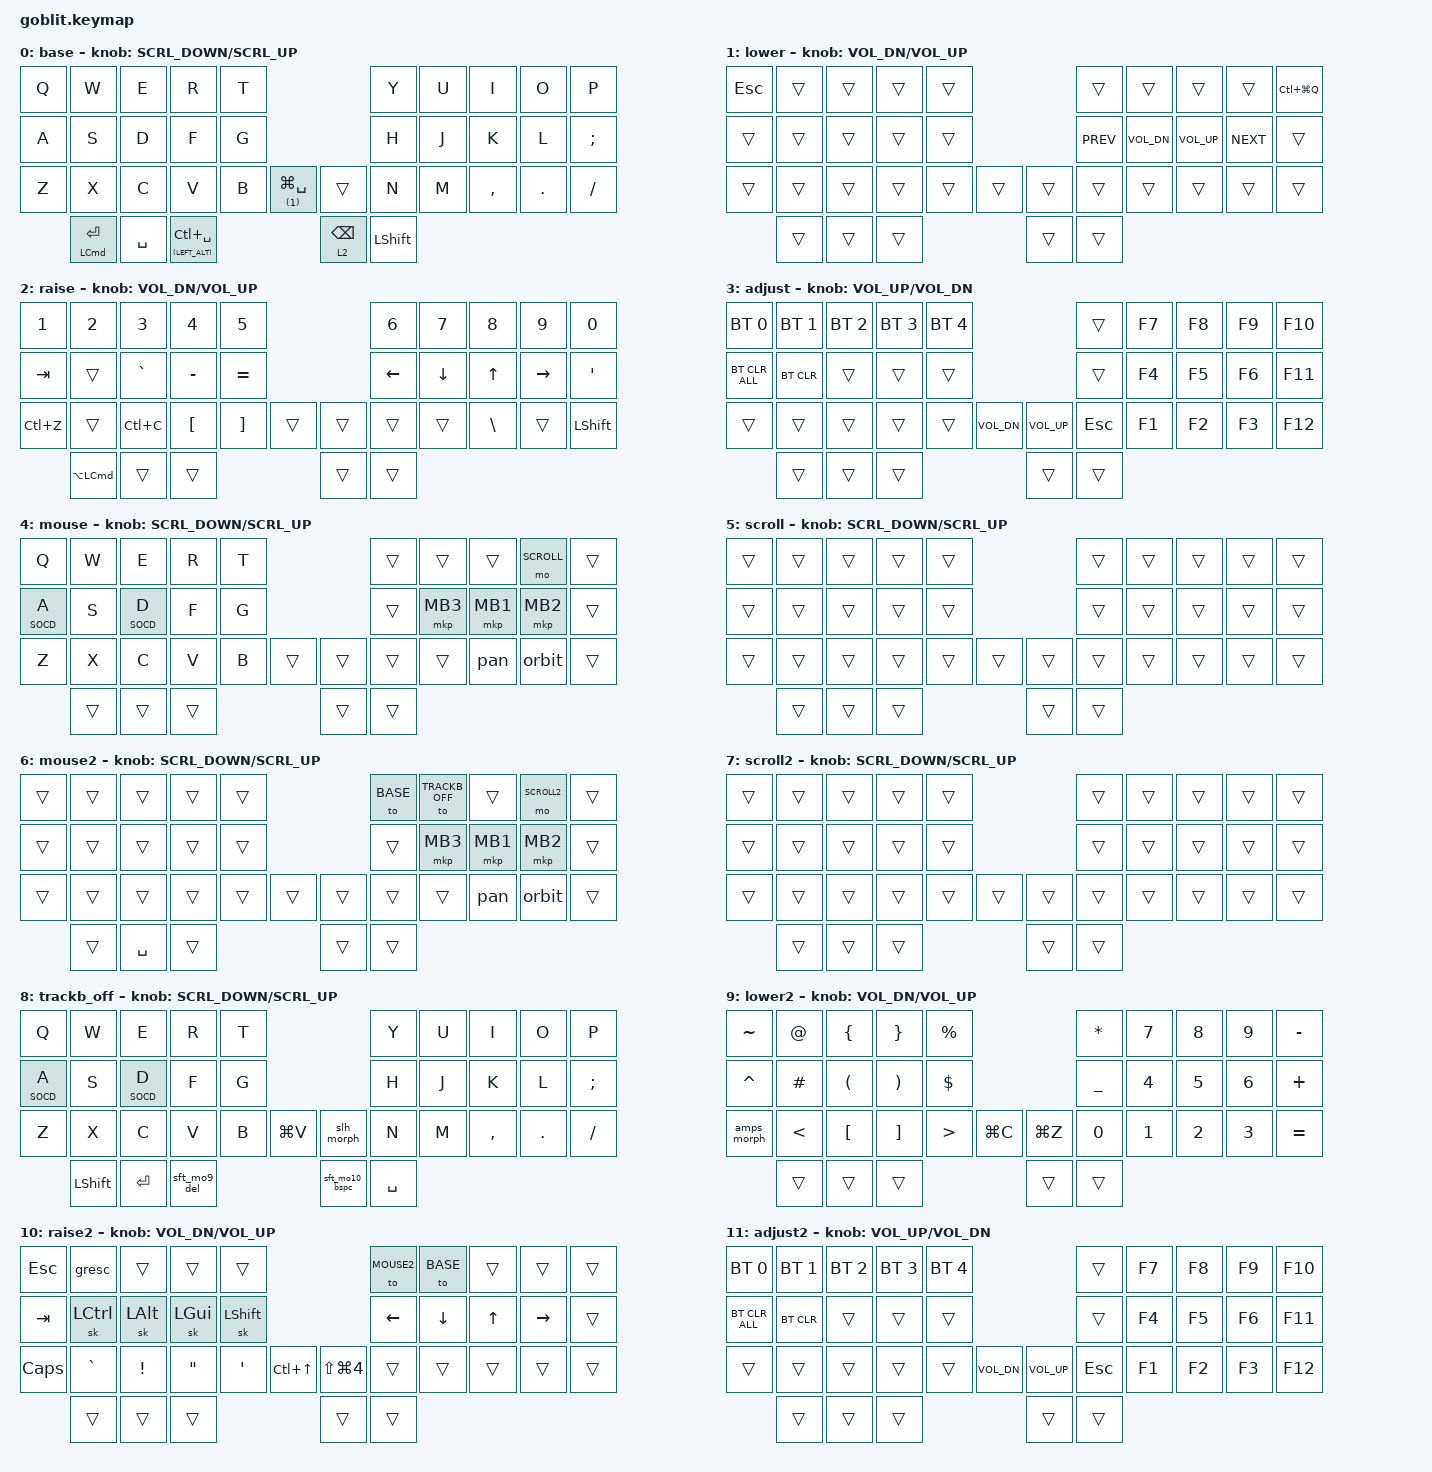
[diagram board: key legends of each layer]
// Copyright (c) 2025 The ZMK Contributors
// SPDX-License-Identifier: MIT
// Default scroll sensitivity for encoder-based scrolling

#define ZMK_POINTING_DEFAULT_SCRL_VAL 100    // default was 10

#include <input/processors.dtsi>
#include <dt-bindings/zmk/mouse.h>
#include <behaviors/mouse_keys.dtsi>
#include <dt-bindings/zmk/input_transform.h>
#include <zephyr/dt-bindings/input/input-event-codes.h>
#include <behaviors.dtsi>
#include <dt-bindings/zmk/bt.h>
#include <dt-bindings/zmk/keys.h>
#include <dt-bindings/zmk/pointing.h>

// Keep all behavior settings visible in ZMK Studio

#define ZMK_BEHAVIORS_OMIT_KT

// Layer indices

#define BASE        0
#define LOWER       1
#define RAISE       2
#define ADJUST      3
#define MOUSE       4
#define SCROLL      5
#define MOUSE2      6
#define SCROLL2     7
#define TRACKB_OFF  8
#define LOWER2      9
#define RAISE2      10
#define ADJUST2     11

// Reference: https://zmk.dev/docs/keymaps/behaviors/

/ {
    conditional_layers {
        compatible = "zmk,conditional-layers";

        tri_layer {
            if-layers = <LOWER RAISE>;
            then-layer = <ADJUST>;
        };

        tri_layer2 {
            if-layers = <LOWER2 RAISE2>;
            then-layer = <ADJUST2>;
        };
    };

    behaviors {
        enc_scroll: enc_scroller {
            compatible = "zmk,behavior-sensor-rotate-var";
            #sensor-binding-cells = <2>;
            bindings = <&msc>, <&msc>;

            tap-ms = <20>;
        };

        /* Setup SOCD for keys A and D (left and right) */

        SOCD: key_lip_a_d {
            compatible = "zmk,behavior-key-press-lip";
            #binding-cells = <1>;
            keycodes = <A D>;
        };

        /* mod-morph for &mo 1, shift (either side) + &mo 1 = delete (shift + lower = delete)*/

        sft_mo1_del: sft_mo1_del {
            compatible = "zmk,behavior-mod-morph";
            #binding-cells = <0>;
            bindings = <&mo 1>, <&kp DEL>;

            mods = <(MOD_LSFT|MOD_RSFT)>;
        };

        sft_mo9_del: sft_mo9_del {
            compatible = "zmk,behavior-mod-morph";
            #binding-cells = <0>;
            bindings = <&mo 9>, <&kp DEL>;

            mods = <(MOD_LSFT|MOD_RSFT)>;
        };

        /* mod-morph for &mo 2, shift (either side) + &mo 2 = delete (shift + raise = backspace)*/

        sft_mo2_bspc: sft_mo2_bspc {
            compatible = "zmk,behavior-mod-morph";
            #binding-cells = <0>;
            bindings = <&mo 2>, <&kp BSPC>;

            mods = <(MOD_LSFT|MOD_RSFT)>;
        };

        sft_mo10_bspc: sft_mo10_bspc {
            compatible = "zmk,behavior-mod-morph";
            #binding-cells = <0>;
            bindings = <&mo 10>, <&kp BSPC>;

            mods = <(MOD_LSFT|MOD_RSFT)>;
        };

        /* mod-morph for Forward/Backward Slash, shift (either side) + &kp FSLH = &kp BSLH */

        slh_morph: slh_morph {
            compatible = "zmk,behavior-mod-morph";
            #binding-cells = <0>;
            bindings = <&kp FSLH>, <&kp BSLH>;

            mods = <(MOD_LSFT)>;
        };

        amps_morph: amps_morph {
            compatible = "zmk,behavior-mod-morph";
            #binding-cells = <0>;
            bindings = <&kp AMPS>, <&kp PIPE>;

            mods = <(MOD_LSFT)>;
        };
    };

    macros {
        orbit: orbit {
            compatible = "zmk,behavior-macro";
            #binding-cells = <0>;
            bindings =
                <&macro_press>,
                <&kp LSHIFT &mkp MCLK>,
                <&macro_pause_for_release>,
                <&macro_release>,
                <&kp LSHIFT &mkp MCLK>;
        };

        pan: pan {
            compatible = "zmk,behavior-macro";
            #binding-cells = <0>;
            bindings =
                <&macro_press>,
                <&mkp MCLK>,
                <&macro_pause_for_release>,
                <&macro_release>,
                <&mkp MCLK>;
        };
    };

    keymap {
        compatible = "zmk,keymap";

        // ---------------------------------------------------------------------------------------------------------------------------------
        // BASE Layer
        // ---------------------------------------------------------------------------------------------------------------------------------

        default_layer {
            display-name = "base";
            bindings = <
&kp Q  &kp W                   &kp E      &kp R                     &kp T                                      &kp Y           &kp U  &kp I      &kp O    &kp P
&kp A  &kp S                   &kp D      &kp F                     &kp G                                      &kp H           &kp J  &kp K      &kp L    &kp SEMI
&kp Z  &kp X                   &kp C      &kp V                     &kp B  &lt (1) LG(SPACE)  &trans           &kp N           &kp M  &kp COMMA  &kp DOT  &kp FSLH

       &mt LEFT_COMMAND ENTER  &kp SPACE  &mt (LEFT_ALT) LC(SPACE)                            &lt 2 BACKSPACE  &kp LEFT_SHIFT
            >;

            sensor-bindings = <&enc_scroll SCRL_DOWN SCRL_UP>;
        };

        // ---------------------------------------------------------------------------------------------------------------------------------
        // LOWER Layer
        // ---------------------------------------------------------------------------------------------------------------------------------

        lower_layer {
            display-name = "lower";
            bindings = <
&kp ESC  &trans  &trans  &trans  &trans                  &trans      &trans        &trans        &trans      &kp LC(LG(Q))
&trans   &trans  &trans  &trans  &trans                  &kp C_PREV  &kp C_VOL_DN  &kp C_VOL_UP  &kp C_NEXT  &trans
&trans   &trans  &trans  &trans  &trans  &trans  &trans  &trans      &trans        &trans        &trans      &trans

         &trans  &trans  &trans                  &trans  &trans
            >;

            sensor-bindings = <&inc_dec_kp C_VOL_DN C_VOL_UP>;
        };

        // ---------------------------------------------------------------------------------------------------------------------------------
        // RAISE Layer
        // ---------------------------------------------------------------------------------------------------------------------------------

        raise_layer {
            display-name = "raise";
            bindings = <
&kp NUMBER_1  &kp N2                &kp N3     &kp N4            &kp N5                             &kp N6    &kp N7    &kp N8         &kp N9     &kp N0
&kp TAB       &trans                &kp GRAVE  &kp MINUS         &kp EQUAL                          &kp LEFT  &kp DOWN  &kp UP         &kp RIGHT  &kp SINGLE_QUOTE
&kp LC(Z)     &trans                &kp LC(C)  &kp LEFT_BRACKET  &kp RIGHT_BRACKET  &trans  &trans  &trans    &trans    &kp BACKSLASH  &trans     &kp LEFT_SHIFT

              &kp LA(LEFT_COMMAND)  &trans     &trans                                       &trans  &trans
            >;

            sensor-bindings = <&inc_dec_kp C_VOL_DN C_VOL_UP>;
        };

        // ---------------------------------------------------------------------------------------------------------------------------------
        // ADJUST Layer
        // ---------------------------------------------------------------------------------------------------------------------------------

        adjust_layer {
            display-name = "adjust";
            bindings = <
&bt BT_SEL 0    &bt BT_SEL 1  &bt BT_SEL 2  &bt BT_SEL 3  &bt BT_SEL 4                              &trans   &kp F7  &kp F8  &kp F9  &kp F10
&bt BT_CLR_ALL  &bt BT_CLR    &trans        &trans        &trans                                    &trans   &kp F4  &kp F5  &kp F6  &kp F11
&trans          &trans        &trans        &trans        &trans        &kp C_VOL_DN  &kp C_VOL_UP  &kp ESC  &kp F1  &kp F2  &kp F3  &kp F12

                &trans        &trans        &trans                                    &trans        &trans
            >;

            sensor-bindings = <&inc_dec_kp C_VOL_UP C_VOL_DN>;
        };

        // ---------------------------------------------------------------------------------------------------------------------------------
        // MOUSE Layer
        // ---------------------------------------------------------------------------------------------------------------------------------

        mouse_layer {
            display-name = "mouse";
            bindings = <
&kp Q    &kp W   &kp E    &kp R   &kp T                  &trans  &trans    &trans    &mo SCROLL  &trans
&SOCD A  &kp S   &SOCD D  &kp F   &kp G                  &trans  &mkp MB3  &mkp MB1  &mkp MB2    &trans
&kp Z    &kp X   &kp C    &kp V   &kp B  &trans  &trans  &trans  &trans    &pan      &orbit      &trans

         &trans  &trans   &trans                 &trans  &trans
            >;

            sensor-bindings = <&enc_scroll SCRL_DOWN SCRL_UP>;
        };

        // ---------------------------------------------------------------------------------------------------------------------------------
        // SCROLL Layer
        // ---------------------------------------------------------------------------------------------------------------------------------

        scroll_layer {
            display-name = "scroll";
            bindings = <
&trans  &trans  &trans  &trans  &trans                  &trans  &trans  &trans  &trans  &trans
&trans  &trans  &trans  &trans  &trans                  &trans  &trans  &trans  &trans  &trans
&trans  &trans  &trans  &trans  &trans  &trans  &trans  &trans  &trans  &trans  &trans  &trans

        &trans  &trans  &trans                  &trans  &trans
            >;

            sensor-bindings = <&enc_scroll SCRL_DOWN SCRL_UP>;
        };

        // ---------------------------------------------------------------------------------------------------------------------------------
        // MOUSE2 Layer
        // ---------------------------------------------------------------------------------------------------------------------------------
        // Persistent mouse mode (toggled from RAISE Layer via &to MOUSE2)

        mouse2_layer {
            display-name = "mouse2";
            bindings = <
&trans  &trans  &trans     &trans  &trans                  &to BASE  &to TRACKB_OFF  &trans    &mo SCROLL2  &trans
&trans  &trans  &trans     &trans  &trans                  &trans    &mkp MB3        &mkp MB1  &mkp MB2     &trans
&trans  &trans  &trans     &trans  &trans  &trans  &trans  &trans    &trans          &pan      &orbit       &trans

        &trans  &kp SPACE  &trans                  &trans  &trans
            >;

            sensor-bindings = <&enc_scroll SCRL_DOWN SCRL_UP>;
        };

        // ---------------------------------------------------------------------------------------------------------------------------------
        // SCROLL2 Layer
        // ---------------------------------------------------------------------------------------------------------------------------------

        scroll2_layer {
            display-name = "scroll2";
            bindings = <
&trans  &trans  &trans  &trans  &trans                  &trans  &trans  &trans  &trans  &trans
&trans  &trans  &trans  &trans  &trans                  &trans  &trans  &trans  &trans  &trans
&trans  &trans  &trans  &trans  &trans  &trans  &trans  &trans  &trans  &trans  &trans  &trans

        &trans  &trans  &trans                  &trans  &trans
            >;

            sensor-bindings = <&enc_scroll SCRL_DOWN SCRL_UP>;
        };

        // ---------------------------------------------------------------------------------------------------------------------------------
        // TRACKB_OFF Layer
        // ---------------------------------------------------------------------------------------------------------------------------------

        trackb_off_layer {
            display-name = "trackb_off";
            bindings = <
&kp Q    &kp W      &kp E      &kp R         &kp T                             &kp Y      &kp U  &kp I      &kp O    &kp P
&SOCD A  &kp S      &SOCD D    &kp F         &kp G                             &kp H      &kp J  &kp K      &kp L    &kp SEMI
&kp Z    &kp X      &kp C      &kp V         &kp B  &kp LG(V)  &slh_morph      &kp N      &kp M  &kp COMMA  &kp DOT  &kp FSLH

         &kp LSHFT  &kp ENTER  &sft_mo9_del                    &sft_mo10_bspc  &kp SPACE
            >;

            sensor-bindings = <&enc_scroll SCRL_DOWN SCRL_UP>;
        };

        // ---------------------------------------------------------------------------------------------------------------------------------
        // LOWER2 Layer
        // ---------------------------------------------------------------------------------------------------------------------------------

        lower2_layer {
            display-name = "lower2";
            bindings = <
&kp TILDE    &kp AT    &kp LBRC  &kp RBRC  &kp PRCNT                        &kp STAR   &kp N7  &kp N8  &kp N9  &kp MINUS
&kp CARET    &kp HASH  &kp LPAR  &kp RPAR  &kp DLLR                         &kp UNDER  &kp N4  &kp N5  &kp N6  &kp PLUS
&amps_morph  &kp LT    &kp LBKT  &kp RBKT  &kp GT     &kp LG(C)  &kp LG(Z)  &kp N0     &kp N1  &kp N2  &kp N3  &kp EQUAL

             &trans    &trans    &trans                          &trans     &trans
            >;

            sensor-bindings = <&inc_dec_kp C_VOL_DN C_VOL_UP>;
        };

        // ---------------------------------------------------------------------------------------------------------------------------------
        // RAISE2 Layer
        // ---------------------------------------------------------------------------------------------------------------------------------

        raise2_layer {
            display-name = "raise2";
            bindings = <
&kp ESC   &gresc     &trans    &trans    &trans                                  &to MOUSE2  &to BASE  &trans  &trans     &trans
&kp TAB   &sk LCTRL  &sk LALT  &sk LGUI  &sk LSHIFT                              &kp LEFT    &kp DOWN  &kp UP  &kp RIGHT  &trans
&kp CAPS  &kp GRAVE  &kp EXCL  &kp DQT   &kp SQT     &kp LC(UP)  &kp LS(LG(N4))  &trans      &trans    &trans  &trans     &trans

          &trans     &trans    &trans                            &trans          &trans
            >;

            sensor-bindings = <&inc_dec_kp C_VOL_DN C_VOL_UP>;
        };

        // ---------------------------------------------------------------------------------------------------------------------------------
        // ADJUST2 Layer
        // ---------------------------------------------------------------------------------------------------------------------------------

        adjust2_layer {
            display-name = "adjust2";
            bindings = <
&bt BT_SEL 0    &bt BT_SEL 1  &bt BT_SEL 2  &bt BT_SEL 3  &bt BT_SEL 4                              &trans   &kp F7  &kp F8  &kp F9  &kp F10
&bt BT_CLR_ALL  &bt BT_CLR    &trans        &trans        &trans                                    &trans   &kp F4  &kp F5  &kp F6  &kp F11
&trans          &trans        &trans        &trans        &trans        &kp C_VOL_DN  &kp C_VOL_UP  &kp ESC  &kp F1  &kp F2  &kp F3  &kp F12

                &trans        &trans        &trans                                    &trans        &trans
            >;

            sensor-bindings = <&inc_dec_kp C_VOL_UP C_VOL_DN>;
        };
    };
};
